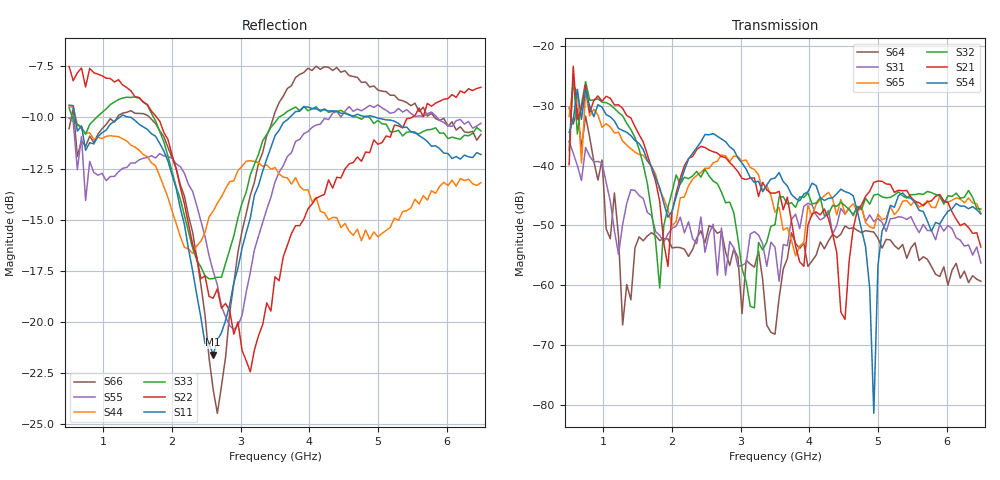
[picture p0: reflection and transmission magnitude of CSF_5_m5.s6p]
!Keysight Technologies,M9804A,MY58100912,A.14.10.03
!Date: Thursday, April 27, 2023 10:28:33
!Correction: S11(C  6-Port  )
!S12(C  6-Port  )
!S13(C  6-Port  )
!S14(C  6-Port  )
!S15(C  6-Port  )
!S16(C  6-Port  )
!S21(C  6-Port  )
!S22(C  6-Port  )
!S23(C  6-Port  )
!S24(C  6-Port  )
!S25(C  6-Port  )
!S26(C  6-Port  )
!S31(C  6-Port  )
!S32(C  6-Port  )
!S33(C  6-Port  )
!S34(C  6-Port  )
!S35(C  6-Port  )
!S36(C  6-Port  )
!S41(C  6-Port  )
!S42(C  6-Port  )
!S43(C  6-Port  )
!S44(C  6-Port  )
!S45(C  6-Port  )
!S46(C  6-Port  )
!S51(C  6-Port  )
!S52(C  6-Port  )
!S53(C  6-Port  )
!S54(C  6-Port  )
!S55(C  6-Port  )
!S56(C  6-Port  )
!S61(C  6-Port  )
!S62(C  6-Port  )
!S63(C  6-Port  )
!S64(C  6-Port  )
!S65(C  6-Port  )
!S66(C  6-Port  )
!S6P File: Measurement: :
# Hz S  RI  R 50
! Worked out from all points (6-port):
!   101 points, 500 MHz to 6.5 GHz, reference 50 ohm
!   strongest paths, dB at 500 MHz, 2 GHz, 3.5 GHz, 5 GHz, 6.5 GHz:
!     S54: -34.4, -47.6, -42.1, -56.8, -48.1
!     S21: -39.8, -47.7, -44.6, -42.6, -53.6
!     S32: -37.5, -44.4, -49.9, -44.8, -47.3
!     S65: -31.8, -50.1, -47.8, -48.1, -48.0
!     S31: -36.0, -50.5, -53.6, -48.8, -56.3
!     S64: -30.3, -53.8, -68.2, -52.1, -59.4
!   lowest |S11| = -21.6 dB at 2.6 GHz (marker M1), VSWR 1.18, Z = 42.6 + j2.06 ohm
!   |S11| at or under -10 dB: 587.8 MHz to 1.234 GHz (645.7 MHz wide, 70.9 % of centre); 1.403 GHz to 3.714 GHz (2.312 GHz wide, 90.4 % of centre); 4.972 GHz to end of sweep
